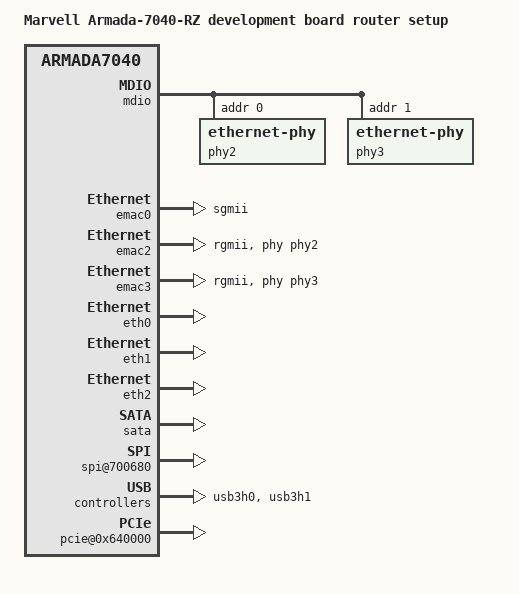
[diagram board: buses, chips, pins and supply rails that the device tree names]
/****************************************************************************
* This program is free software: you can redistribute it and/or modify it
* under the terms of the GNU General Public License as published by the Free
* Software Foundation, either version 2 of the License, or any later version.
*
* This program is distributed in the hope that it will be useful,
* but WITHOUT ANY WARRANTY; without even the implied warranty of
* MERCHANTABILITY or FITNESS FOR A PARTICULAR PURPOSE.  See the
* GNU General Public License for more details.
*
* You should have received a copy of the GNU General Public License
* along with this program.  If not, see <http://www.gnu.org/licenses/>.
* ***************************************************************************
*/

/*
 * Device Tree file for Marvell Armada 7040 RZ development board
 */

#include "armada-7040rz-db.dtsi"

/ {
	model = "Marvell Armada-7040-RZ development board router setup";
	compatible = "marvell,armada7040-rz-db-router";
	#address-cells = <2>;
	#size-cells = <2>;

	chosen { };

	/* Enable units for this configuration */
	cpn-110-master {
		config-space {
			mdio {
				#address-cells = <1>;
				#size-cells = <0>;
				phy2: ethernet-phy@2 {
					reg = <0>;
				};
				phy3: ethernet-phy@3 {
					reg = <1>;
				};
			};
			gop {
				emac0: mac0 {
					phy-mode = "sgmii"; /* lane-2 */
					status = "okay";
				};
				emac2: mac2 {
					phy-mode = "rgmii"; /* rgmii-0 */
					phy = <&phy2>;
					status = "okay";
				};
				emac3: mac3 {
					phy-mode = "rgmii"; /* rgmii-1 */
					phy = <&phy3>;
					status = "okay";
				};
			};
			ppv22@000000 {
				eth0: eth0@010000 {
					status = "okay";
				};
				eth1: eth1@020000 {
					status = "okay";
				};
				eth2: eth2@030000 {
					status = "okay";
				};
			};
			sata: sata@540000 {
				status = "okay";
			};
			spi@700680 {
				status = "okay";
			};
			usb3h0: usb3@500000 {
				status = "okay";
			};
			usb3h1: usb3@510000 {
				status = "okay";
			};
		};
		pcie@0x640000 {
			status = "okay";
		};
	};
};
